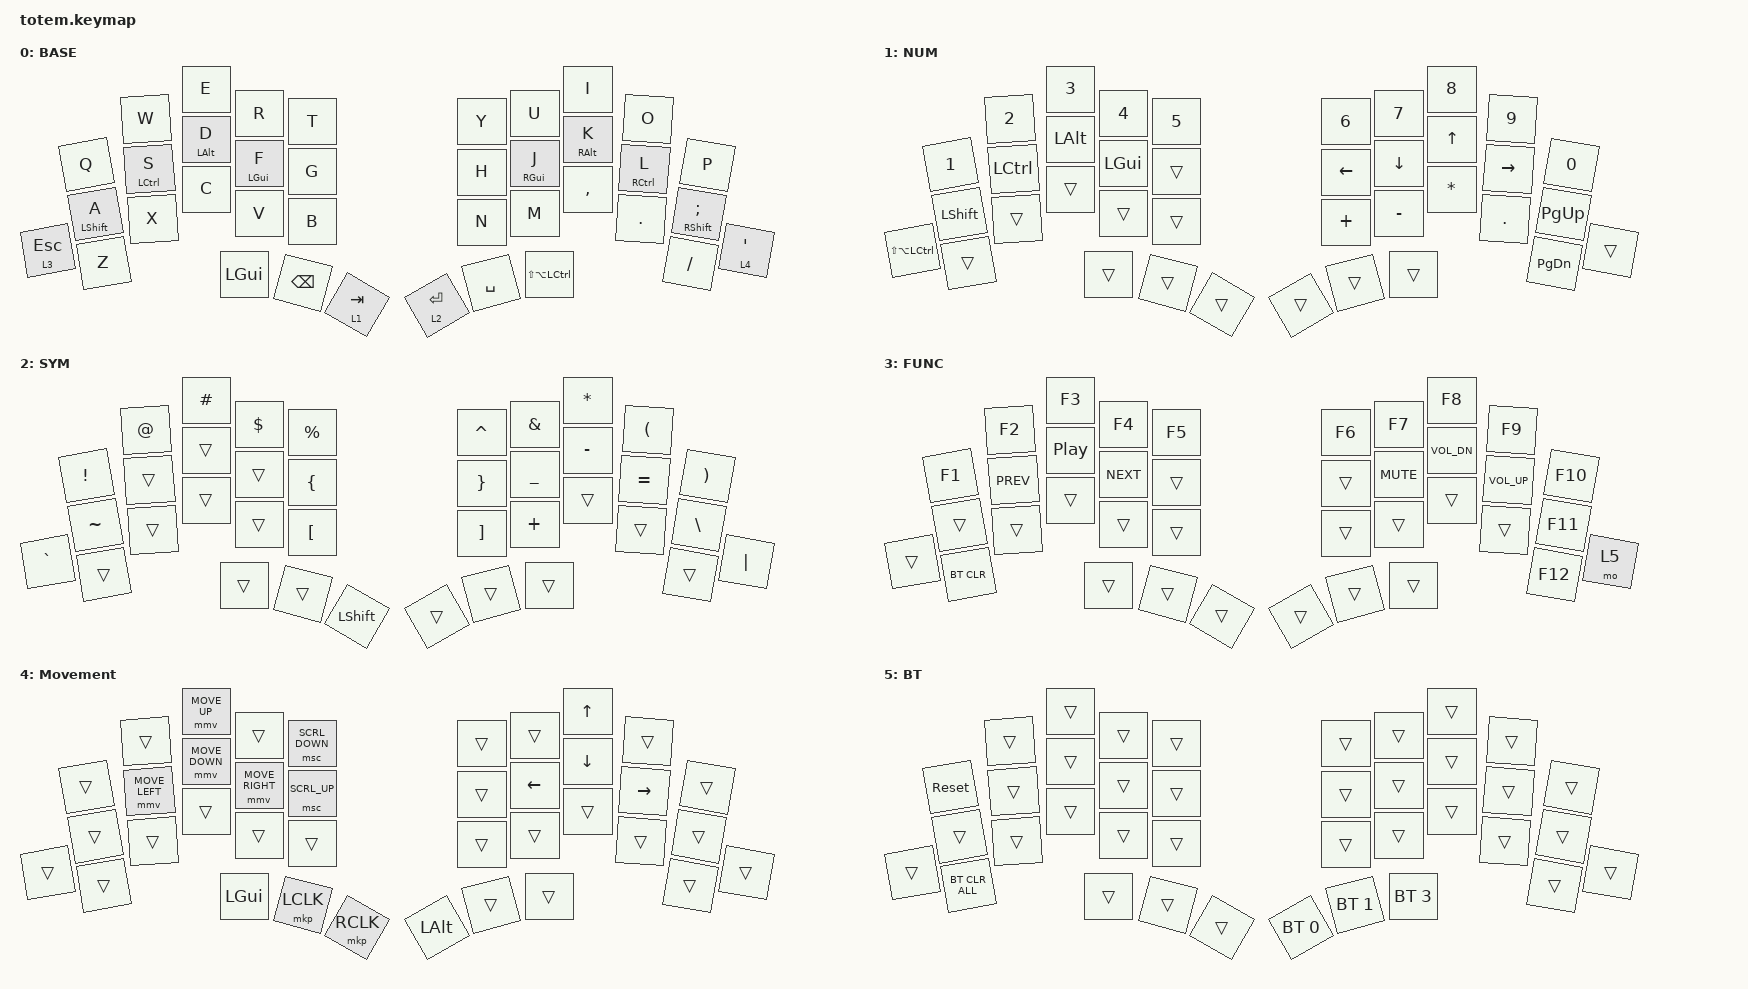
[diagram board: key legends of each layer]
//
//                                                        ▀▀▀▀▀     ▀▀▀▀▀          ▀▀█▀▀
//                                                        ▄▀▀▀▄  ▄  ▄▀▀▀▄  ▄  ▄▀▀▀▄  █  ▄▀▀▀▄
//                                                        █   █  █  █   █  █  █   █  █  █   █
//                                                         ▀▀▀   █   ▀▀▀   █   ▀▀▀   ▀   ▀▀▀
//                                                               █      ▄▄▄█▄▄▄    █   █
//                                                               ▀      █  █  █     █▄█
//                                                             ▀▀▀▀▀    █  █  █      ▀
//                                                                      ▀  ▀  ▀
//
// ▄▄▄▄▄▄▄▄▄▄▄▄▄▄▄▄▄▄▄▄▄▄▄▄▄▄▄▄▄▄▄▄▄▄▄▄▄▄▄▄▄▄▄▄▄▄▄▄▄▄▄▄▄▄▄▄▄▄▄▄▄▄▄▄▄▄▄▄▄▄▄▄▄▄▄▄▄▄▄▄▄▄▄▄▄▄▄▄▄▄▄▄▄▄▄▄▄▄▄▄▄▄▄▄▄▄▄▄▄▄▄▄▄▄▄▄▄▄▄▄▄▄▄▄▄▄▄▄▄▄▄▄▄▄▄▄▄▄▄▄▄▄▄▄▄▄▄▄▄

#include <behaviors/mouse_keys.dtsi>
#include <behaviors.dtsi>
#include <dt-bindings/zmk/mouse.h>
#include <dt-bindings/zmk/bt.h>
#include <dt-bindings/zmk/keys.h>
#include <dt-bindings/zmk/pointing.h>

#define Base 0
#define Num 1
#define Sym 2
#define Func 3
#define Movement 4
#define ZMK_POINTING_DEFAULT_MOVE_VAL 2500  // default: 600
#define ZMK_POINTING_DEFAULT_SCRL_VAL 15    // default: 10

&mmv {
    acceleration-exponent = <1>;      // 1
    time-to-max-speed-ms = <500>;     // 300
    delay-ms = <0>;                   // 0
};

&msc {
    acceleration-exponent = <1>;      // 0
    time-to-max-speed-ms = <40>;      // 10
    delay-ms = <0>;                   // 0
};

//Changes made:
//   - flavor: tap-preferred → balanced — hold+keypress now triggers the modifier instead of outputting the tap character
//   - require-prior-idle-ms: 100 → 150 — gives a slightly longer idle window before the balanced logic kicks in, reducing accidental mods during burst typing while still
//   allowing intentional holds
//
//   If you still get accidental mods during fast typing (e.g. rolling keys quickly triggers modifiers), you can increase require-prior-idle-ms up to 200. If holds still feel
//   sluggish, try lowering tapping-term-ms to 175.

&mt {
    flavor = "balanced";
    tapping-term-ms = <200>;
    quick-tap-ms = <200>;
    require-prior-idle-ms = <150>;
};

&lt { require-prior-idle-ms = <100>; };

/ {
    keymap {
        compatible = "zmk,keymap";

        // ▄▄▄▄▄▄▄▄▄▄▄▄▄▄▄▄▄▄▄▄▄▄▄▄▄▄▄▄▄▄▄▄▄▄▄▄▄▄▄▄▄▄▄▄▄▄▄▄▄▄▄▄▄▄▄▄▄▄▄▄▄▄▄▄▄▄▄▄▄▄▄▄▄▄▄▄▄▄▄▄▄▄▄▄▄▄▄▄▄▄▄▄▄▄▄▄▄▄▄▄▄▄▄▄▄▄▄▄▄▄▄▄▄▄▄▄▄▄▄▄▄▄▄▄▄▄▄▄▄▄▄▄▄▄▄▄▄▄▄▄▄▄▄▄▄▄▄▄▄

        Base {
            // ┏━━━━━━━━━━━━━━━━━━━━━━━━━━━━━━━━━━━━━━━┓

            label = "BASE";

            // ┗━━━━━━━━━━━━━━━━━━━━━━━━━━━━━━━━━━━━━━━┛
            //             ┏━━━━━━━━━━━┳━━━━━━━━━━━┳━━━━━━━━━━━┳━━━━━━━━━━━┳━━━━━━━━━━━┓   ┏━━━━━━━━━━━┳━━━━━━━━━━━┳━━━━━━━━━━━┳━━━━━━━━━━━┳━━━━━━━━━━━┓
            //             ┃     Q     ┃     W     ┃     F     ┃     P     ┃     G     ┃   ┃     J     ┃     L     ┃     U     ┃     Y     ┃     ;     ┃
            //             ┣━━━━━━━━━━━╋━━━━━━━━━━━╋━━━━━━━━━━━╋━━━━━━━━━━━╋━━━━━━━━━━━┫   ┣━━━━━━━━━━━╋━━━━━━━━━━━╋━━━━━━━━━━━╋━━━━━━━━━━━╋━━━━━━━━━━━┫
            //             ┃     A     ┃     R     ┃     S     ┃     T     ┃     D     ┃   ┃     H     ┃     N     ┃     E     ┃     I     ┃     O     ┃
            // ┏━━━━━━━━━━━╋━━━━━━━━━━━╋━━━━━━━━━━━╋━━━━━━━━━━━╋━━━━━━━━━━━╋━━━━━━━━━━━┫   ┣━━━━━━━━━━━╋━━━━━━━━━━━╋━━━━━━━━━━━╋━━━━━━━━━━━╋━━━━━━━━━━━╋━━━━━━━━━━━┓
            // ┃     Q     ┃     Z     ┃     X     ┃     C     ┃     V     ┃     B     ┃   ┃     K     ┃     M     ┃     ,     ┃     .     ┃     /     ┃     \     ┃
            // ┗━━━━━━━━━━━┻━━━━━━━━━━━┻━━━━━━━━━━━╋━━━━━━━━━━━╋━━━━━━━━━━━╋━━━━━━━━━━━┫   ┣━━━━━━━━━━━╋━━━━━━━━━━━╋━━━━━━━━━━━╋━━━━━━━━━━━┻━━━━━━━━━━━┻━━━━━━━━━━━┛
            //                                     ┃    DEL    ┃    TAB    ┃    SPC    ┃   ┃   ENTER   ┃           ┃   BSPC    ┃
            //                                     ┗━━━━━━━━━━━┻━━━━━━━━━━━┻━━━━━━━━━━━┛   ┗━━━━━━━━━━━┻━━━━━━━━━━━┻━━━━━━━━━━━┛

            bindings = <
              &kp Q             &kp W        &kp E           &kp R           &kp T        &kp Y        &kp U            &kp I              &kp O        &kp P
              &mt LEFT_SHIFT A  &mt LCTRL S  &mt LEFT_ALT D  &mt LEFT_GUI F  &kp G        &kp H        &mt RIGHT_GUI J  &mt RIGHT_ALT K    &mt RCTRL L  &mt RIGHT_SHIFT SEMI
&lt 3 ESCAPE  &kp Z             &kp X        &kp C           &kp V           &kp B        &kp N        &kp M            &kp COMMA          &kp DOT      &kp FSLH              &lt 4 SQT
                                             &kp LEFT_GUI    &kp BACKSPACE   &lt 1 TAB    &lt 2 ENTER  &kp SPACE        &kp LS(LA(LCTRL))
            >;
        };

        // ▄▄▄▄▄▄▄▄▄▄▄▄▄▄▄▄▄▄▄▄▄▄▄▄▄▄▄▄▄▄▄▄▄▄▄▄▄▄▄▄▄▄▄▄▄▄▄▄▄▄▄▄▄▄▄▄▄▄▄▄▄▄▄▄▄▄▄▄▄▄▄▄▄▄▄▄▄▄▄▄▄▄▄▄▄▄▄▄▄▄▄▄▄▄▄▄▄▄▄▄▄▄▄▄▄▄▄▄▄▄▄▄▄▄▄▄▄▄▄▄▄▄▄▄▄▄▄▄▄▄▄▄▄▄▄▄▄▄▄▄▄▄▄▄▄▄▄▄▄

        Num {
            // ┏━━━━━━━━━━━━━━━━━━━━━━━━━━━━━━━━━━━━━━━┓

            label = "NUM";

            // ┗━━━━━━━━━━━━━━━━━━━━━━━━━━━━━━━━━━━━━━━┛
            //             ┏━━━━━━━━━━━┳━━━━━━━━━━━┳━━━━━━━━━━━┳━━━━━━━━━━━┳━━━━━━━━━━━┓   ┏━━━━━━━━━━━┳━━━━━━━━━━━┳━━━━━━━━━━━┳━━━━━━━━━━━┳━━━━━━━━━━━┓
            //             ┃           ┃           ┃     UP    ┃           ┃     {     ┃   ┃     }     ┃     7     ┃     8     ┃     9     ┃     +     ┃
            //             ┣━━━━━━━━━━━╋━━━━━━━━━━━╋━━━━━━━━━━━╋━━━━━━━━━━━╋━━━━━━━━━━━┫   ┣━━━━━━━━━━━╋━━━━━━━━━━━╋━━━━━━━━━━━╋━━━━━━━━━━━╋━━━━━━━━━━━┫
            //             ┃   SHIFT   ┃   LEFT    ┃    DOWN   ┃   RIGHT   ┃     [     ┃   ┃     ]     ┃     4     ┃     5     ┃     6     ┃     -     ┃
            // ┏━━━━━━━━━━━╋━━━━━━━━━━━╋━━━━━━━━━━━╋━━━━━━━━━━━╋━━━━━━━━━━━╋━━━━━━━━━━━┫   ┣━━━━━━━━━━━╋━━━━━━━━━━━╋━━━━━━━━━━━╋━━━━━━━━━━━╋━━━━━━━━━━━╋━━━━━━━━━━━┓
            // ┃           ┃           ┃   P UP    ┃  C LOCK   ┃  P DOWN   ┃     (     ┃   ┃     )     ┃     1     ┃     2     ┃     3     ┃     *     ┃           ┃
            // ┗━━━━━━━━━━━┻━━━━━━━━━━━┻━━━━━━━━━━━╋━━━━━━━━━━━╋━━━━━━━━━━━╋━━━━━━━━━━━┫   ┣━━━━━━━━━━━╋━━━━━━━━━━━╋━━━━━━━━━━━╋━━━━━━━━━━━┻━━━━━━━━━━━┻━━━━━━━━━━━┛
            //                                     ┃           ┃    TAB    ┃    SPC    ┃   ┃    DEL    ┃     0     ┃           ┃
            //                                     ┗━━━━━━━━━━━┻━━━━━━━━━━━┻━━━━━━━━━━━┛   ┗━━━━━━━━━━━┻━━━━━━━━━━━┻━━━━━━━━━━━┛

            bindings = <
                   &kp NUMBER_1  &kp NUMBER_2  &kp NUMBER_3  &kp NUMBER_4  &kp N5    &kp NUMBER_6    &kp N7          &kp N8        &kp N9      &kp N0
                   &kp LSHFT     &kp LCTRL     &kp LEFT_ALT  &kp LEFT_GUI  &trans    &kp LEFT_ARROW  &kp DOWN_ARROW  &kp UP_ARROW  &kp RIGHT   &kp PG_UP
&kp LS(LA(LCTRL))  &trans        &trans        &trans        &trans        &trans    &kp PLUS        &kp MINUS       &kp ASTERISK  &kp PERIOD  &kp PAGE_DOWN  &trans
                                               &trans        &trans        &trans    &trans          &trans          &trans
            >;
        };

        // ▄▄▄▄▄▄▄▄▄▄▄▄▄▄▄▄▄▄▄▄▄▄▄▄▄▄▄▄▄▄▄▄▄▄▄▄▄▄▄▄▄▄▄▄▄▄▄▄▄▄▄▄▄▄▄▄▄▄▄▄▄▄▄▄▄▄▄▄▄▄▄▄▄▄▄▄▄▄▄▄▄▄▄▄▄▄▄▄▄▄▄▄▄▄▄▄▄▄▄▄▄▄▄▄▄▄▄▄▄▄▄▄▄▄▄▄▄▄▄▄▄▄▄▄▄▄▄▄▄▄▄▄▄▄▄▄▄▄▄▄▄▄▄▄▄▄▄▄▄

        Sym {
            // ┏━━━━━━━━━━━━━━━━━━━━━━━━━━━━━━━━━━━━━━━┓

            label = "SYM";

            // ┗━━━━━━━━━━━━━━━━━━━━━━━━━━━━━━━━━━━━━━━┛
            //             ┏━━━━━━━━━━━┳━━━━━━━━━━━┳━━━━━━━━━━━┳━━━━━━━━━━━┳━━━━━━━━━━━┓   ┏━━━━━━━━━━━┳━━━━━━━━━━━┳━━━━━━━━━━━┳━━━━━━━━━━━┳━━━━━━━━━━━┓
            //             ┃     !     ┃     @     ┃     #     ┃     $     ┃     %     ┃   ┃     ˆ     ┃     &     ┃     Ü     ┃     '     ┃     "     ┃
            //             ┣━━━━━━━━━━━╋━━━━━━━━━━━╋━━━━━━━━━━━╋━━━━━━━━━━━╋━━━━━━━━━━━┫   ┣━━━━━━━━━━━╋━━━━━━━━━━━╋━━━━━━━━━━━╋━━━━━━━━━━━╋━━━━━━━━━━━┫
            //             ┃     Ä     ┃           ┃    SZ     ┃           ┃           ┃   ┃   MUTE    ┃   YEN     ┃   EURO    ┃  POUND    ┃     Ö     ┃
            // ┏━━━━━━━━━━━╋━━━━━━━━━━━╋━━━━━━━━━━━╋━━━━━━━━━━━╋━━━━━━━━━━━╋━━━━━━━━━━━┫   ┣━━━━━━━━━━━╋━━━━━━━━━━━╋━━━━━━━━━━━╋━━━━━━━━━━━╋━━━━━━━━━━━╋━━━━━━━━━━━┓
            // ┃           ┃  EMAIL1   ┃  EMAIL2   ┃           ┃           ┃           ┃   ┃   VOL-    ┃   VOL+    ┃   LAST    ┃   NEXT    ┃     \     ┃           ┃
            // ┗━━━━━━━━━━━┻━━━━━━━━━━━┻━━━━━━━━━━━╋━━━━━━━━━━━╋━━━━━━━━━━━╋━━━━━━━━━━━┫   ┣━━━━━━━━━━━╋━━━━━━━━━━━╋━━━━━━━━━━━╋━━━━━━━━━━━┻━━━━━━━━━━━┻━━━━━━━━━━━┛
            //                                     ┃           ┃    GIF    ┃    ADJ    ┃   ┃           ┃           ┃           ┃
            //                                     ┗━━━━━━━━━━━┻━━━━━━━━━━━┻━━━━━━━━━━━┛   ┗━━━━━━━━━━━┻━━━━━━━━━━━┻━━━━━━━━━━━┛

            bindings = <
           &kp EXCL   &kp AT  &kp HASH  &kp DLLR  &kp PRCNT           &kp CARET          &kp AMPS        &kp ASTRK  &kp LEFT_PARENTHESIS  &kp RIGHT_PARENTHESIS
           &kp TILDE  &trans  &trans    &trans    &kp LEFT_BRACE      &kp RIGHT_BRACE    &kp UNDERSCORE  &kp MINUS  &kp EQUAL             &kp BACKSLASH
&kp GRAVE  &trans     &trans  &trans    &trans    &kp LEFT_BRACKET    &kp RIGHT_BRACKET  &kp PLUS        &trans     &trans                &trans                 &kp PIPE
                              &trans    &trans    &kp LEFT_SHIFT      &trans             &trans          &trans
            >;
        };

        // ▄▄▄▄▄▄▄▄▄▄▄▄▄▄▄▄▄▄▄▄▄▄▄▄▄▄▄▄▄▄▄▄▄▄▄▄▄▄▄▄▄▄▄▄▄▄▄▄▄▄▄▄▄▄▄▄▄▄▄▄▄▄▄▄▄▄▄▄▄▄▄▄▄▄▄▄▄▄▄▄▄▄▄▄▄▄▄▄▄▄▄▄▄▄▄▄▄▄▄▄▄▄▄▄▄▄▄▄▄▄▄▄▄▄▄▄▄▄▄▄▄▄▄▄▄▄▄▄▄▄▄▄▄▄▄▄▄▄▄▄▄▄▄▄▄▄▄▄▄

        Func {
            // ┏━━━━━━━━━━━━━━━━━━━━━━━━━━━━━━━━━━━━━━━┓

            label = "FUNC";

            // ┗━━━━━━━━━━━━━━━━━━━━━━━━━━━━━━━━━━━━━━━┛
            //             ┏━━━━━━━━━━━┳━━━━━━━━━━━┳━━━━━━━━━━━┳━━━━━━━━━━━┳━━━━━━━━━━━┓   ┏━━━━━━━━━━━┳━━━━━━━━━━━┳━━━━━━━━━━━┳━━━━━━━━━━━┳━━━━━━━━━━━┓
            //             ┃   RESET   ┃ BT CLEAR  ┃  OUT TOG  ┃           ┃           ┃   ┃           ┃    F7     ┃    F8     ┃    F9     ┃    F12    ┃
            //             ┣━━━━━━━━━━━╋━━━━━━━━━━━╋━━━━━━━━━━━╋━━━━━━━━━━━╋━━━━━━━━━━━┫   ┣━━━━━━━━━━━╋━━━━━━━━━━━╋━━━━━━━━━━━╋━━━━━━━━━━━╋━━━━━━━━━━━┫
            //             ┃ BOOTLOAD  ┃ BT NEXT   ┃           ┃           ┃           ┃   ┃           ┃    F4     ┃    F5     ┃    F6     ┃    F11    ┃
            // ┏━━━━━━━━━━━╋━━━━━━━━━━━╋━━━━━━━━━━━╋━━━━━━━━━━━╋━━━━━━━━━━━╋━━━━━━━━━━━┫   ┣━━━━━━━━━━━╋━━━━━━━━━━━╋━━━━━━━━━━━╋━━━━━━━━━━━╋━━━━━━━━━━━╋━━━━━━━━━━━┓
            // ┃           ┃           ┃ BT PREV   ┃           ┃           ┃           ┃   ┃           ┃    F1     ┃    F2     ┃    F3     ┃    F10    ┃           ┃
            // ┗━━━━━━━━━━━┻━━━━━━━━━━━┻━━━━━━━━━━━╋━━━━━━━━━━━╋━━━━━━━━━━━╋━━━━━━━━━━━┫   ┣━━━━━━━━━━━╋━━━━━━━━━━━╋━━━━━━━━━━━╋━━━━━━━━━━━┻━━━━━━━━━━━┻━━━━━━━━━━━┛
            //                                     ┃           ┃           ┃           ┃   ┃           ┃           ┃           ┃
            //                                     ┗━━━━━━━━━━━┻━━━━━━━━━━━┻━━━━━━━━━━━┛   ┗━━━━━━━━━━━┻━━━━━━━━━━━┻━━━━━━━━━━━┛

            bindings = <
        &kp F1      &kp F2      &kp F3            &kp F4      &kp F5    &kp F6  &kp F7      &kp F8        &kp F9        &kp F10
        &trans      &kp C_PREV  &kp C_PLAY_PAUSE  &kp C_NEXT  &trans    &trans  &kp C_MUTE  &kp C_VOL_DN  &kp C_VOL_UP  &kp F11
&trans  &bt BT_CLR  &trans      &trans            &trans      &trans    &trans  &trans      &trans        &trans        &kp F12  &mo 5
                                &trans            &trans      &trans    &trans  &trans      &trans
            >;
        };

        // ▄▄▄▄▄▄▄▄▄▄▄▄▄▄▄▄▄▄▄▄▄▄▄▄▄▄▄▄▄▄▄▄▄▄▄▄▄▄▄▄▄▄▄▄▄▄▄▄▄▄▄▄▄▄▄▄▄▄▄▄▄▄▄▄▄▄▄▄▄▄▄▄▄▄▄▄▄▄▄▄▄▄▄▄▄▄▄▄▄▄▄▄▄▄▄▄▄▄▄▄▄▄▄▄▄▄▄▄▄▄▄▄▄▄▄▄▄▄▄▄▄▄▄▄▄▄▄▄▄▄▄▄▄▄▄▄▄▄▄▄▄▄▄▄▄▄▄▄▄

        Movement {
            bindings = <
        &trans  &trans          &mmv MOVE_UP    &trans           &msc SCRL_DOWN    &trans        &trans    &kp UP_ARROW    &trans     &trans
        &trans  &mmv MOVE_LEFT  &mmv MOVE_DOWN  &mmv MOVE_RIGHT  &msc SCRL_UP      &trans        &kp LEFT  &kp DOWN_ARROW  &kp RIGHT  &trans
&trans  &trans  &trans          &trans          &trans           &trans            &trans        &trans    &trans          &trans     &trans  &trans
                                &kp LEFT_GUI    &mkp LCLK        &mkp RCLK         &kp LEFT_ALT  &trans    &trans
            >;
        };

        BT {
            bindings = <
        &sys_reset      &trans  &trans  &trans  &trans    &trans        &trans        &trans        &trans  &trans
        &trans          &trans  &trans  &trans  &trans    &trans        &trans        &trans        &trans  &trans
&trans  &bt BT_CLR_ALL  &trans  &trans  &trans  &trans    &trans        &trans        &trans        &trans  &trans  &trans
                                &trans  &trans  &trans    &bt BT_SEL 0  &bt BT_SEL 1  &bt BT_SEL 3
            >;
        };

        // ▄▄▄▄▄▄▄▄▄▄▄▄▄▄▄▄▄▄▄▄▄▄▄▄▄▄▄▄▄▄▄▄▄▄▄▄▄▄▄▄▄▄▄▄▄▄▄▄▄▄▄▄▄▄▄▄▄▄▄▄▄▄▄▄▄▄▄▄▄▄▄▄▄▄▄▄▄▄▄▄▄▄▄▄▄▄▄▄▄▄▄▄▄▄▄▄▄▄▄▄▄▄▄▄▄▄▄▄▄▄▄▄▄▄▄▄▄▄▄▄▄▄▄▄▄▄▄▄▄▄▄▄▄▄▄▄▄▄▄▄▄▄▄▄▄▄▄▄▄
    };
};
